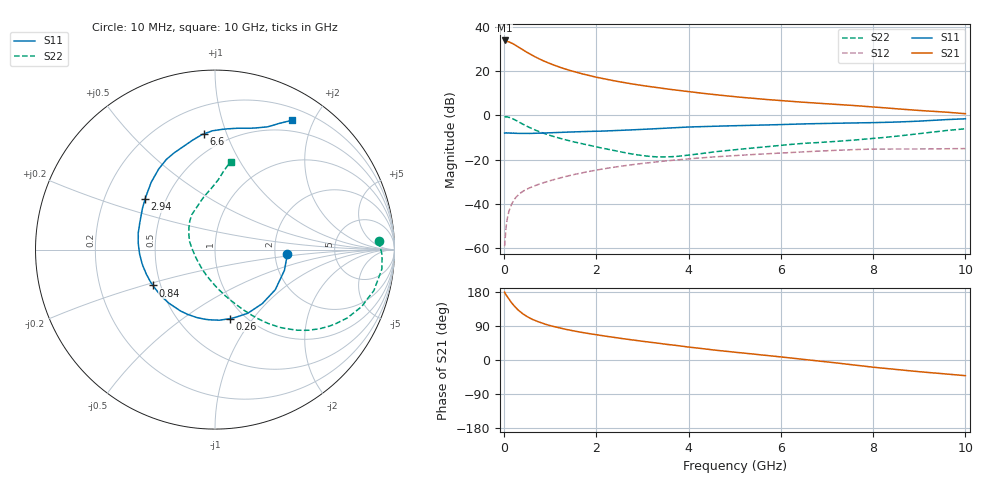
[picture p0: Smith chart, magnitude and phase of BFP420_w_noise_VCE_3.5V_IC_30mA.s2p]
! Infineon Technologies  Discrete & RF Semiconductors
! BFP420
! VCE =  3.5 V,  IC =  30 mA
! Common Emitter S-Parameters:  Jan 2016
# GHz  S  MA  R  50
!  f  S11  S21  S12  S22
! GHz  MAG  ANG  MAG  ANG  MAG  ANG  MAG  ANG
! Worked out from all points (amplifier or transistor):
!   233 points, 10 MHz to 10 GHz, reference 50 ohm
!   highest |S21| = 33.9 dB at 10 MHz (marker M1)
!   |S21| within 3 dB of that: start of sweep to 311.5 MHz
!   unconditionally stable (mu >= 1): start of sweep to 16.08 MHz; 1.575 GHz to end of sweep
!   at 200 MHz: K = 0.32, MSG = 35.5 dB, |S12| = -38.7 dB
!   at 1.74 GHz: K = 1.03, MAG = 21.1 dB, |S12| = -25.8 dB
!   at 10 GHz: K = 1.06, MAG = 6.4 dB, |S12| = -15.0 dB
!   lowest NFmin = 1.51 dB at 900 MHz
!   S11 on the Smith chart (normalised r, x): 10 MHz: 2.32, -0.15; 260 MHz: 0.86, -0.78; 840 MHz: 0.45, -0.22; 2.94 GHz: 0.38, +0.28; 6.6 GHz: 0.38, +0.84; 10 GHz: 0.35, +1.71
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0.01  0.3994 -3.9  49.8 178.9  0.0011 80.4  0.9138 2.9
0.02  0.4023 -6.2  48.55 175.8  0.0015 82.8  0.9318 -1.9
0.095  0.4018 -32.0  46.63 162.1  0.0062 77.2  0.9158 -13.6
0.15  0.4 -48.9  44.2 152.8  0.0092 73.1  0.876 -21.3
0.2  0.3991 -62.8  41.52 145.2  0.0116 69.5  0.829 -27.4
0.26  0.3938 -77.7  38.01 137.2  0.0142 66.3  0.7688 -33.6
0.3  0.394 -86.5  35.88 132.3  0.0157 64.5  0.7292 -37.3
0.4  0.3918 -104.7  30.83 122.3  0.019 61.4  0.6393 -44.6
0.5  0.3923 -119.2  26.62 114.4  0.0217 59.6  0.5639 -50.2
0.6  0.3938 -130.5  23.21 107.9  0.0241 58.7  0.5034 -54.5
0.68  0.3955 -137.9  20.99 103.8  0.026 58.4  0.4639 -57.3
0.84  0.3992 -150.0  17.46 96.6  0.0297 58.1  0.4006 -62.2
1.2  0.4135 -168.9  12.41 84.5  0.0382 57.8  0.3052 -71.7
1.68  0.4301 174.3  8.82 72.9  0.05 56.2  0.2298 -83.4
2.2  0.4451 160.3  6.633 62.8  0.063 53.0  0.1753 -97.5
2.94  0.4808 144.1  4.856 50.4  0.0807 47.0  0.126 -127.2
3.4  0.5094 135.2  4.148 43.4  0.0911 42.7  0.1152 -151.5
5.1  0.5878 111.7  2.598 19.4  0.1254 26.7  0.1714 148.2
6.6  0.6477 95.4  1.954 0.3  0.1518 12.9  0.2368 121.9
6.8  0.6544 93.3  1.894 -2.3  0.1555 11.0  0.2432 118.7
8.4  0.7033 74.0  1.443 -24.0  0.1737 -6.9  0.3297 95.5
10  0.8403 59.1  1.095 -41.4  0.1779 -19.4  0.4987 79.8
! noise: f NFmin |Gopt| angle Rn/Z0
0.9  1.51  0.26  -155  0.13
1.8  1.78  0.33  -142  0.14
2.4  1.96  0.3  -136  0.18
3  1.98  0.38  -127  0.2
4  2.11  0.47  -111  0.31
5  2.57  0.53  -94  0.51
6  3  0.57  -82  0.74
